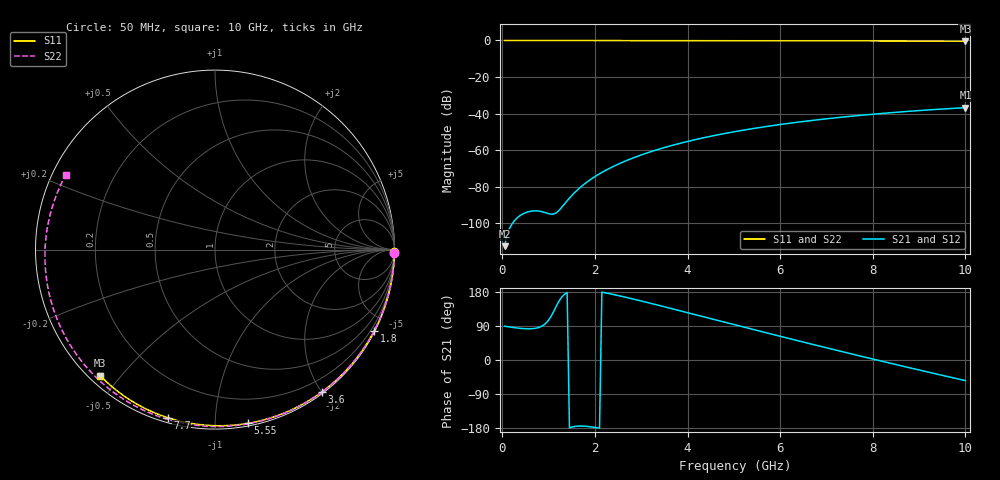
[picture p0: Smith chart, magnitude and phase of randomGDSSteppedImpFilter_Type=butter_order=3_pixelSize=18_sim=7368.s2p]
! freq	dB(S11)	phase(S11)	dB(S12)	phase(S12)
!  dB(S21)	phase(S21)	dB(S22)	phase(S22)
!S-par simulation data
#  GHz  S  DB  R 50
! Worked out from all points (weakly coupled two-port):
!   200 points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, 50 MHz to 10 GHz, reference 50 ohm
!   highest |S21| = -36.77 dB at 10 GHz (marker M1); lowest = -112.5 dB at 50 MHz (marker M2)
!   lowest |S11| = -0.4 dB at 10 GHz (marker M3), VSWR 38.79, Z = 1.54 - j22.1 ohm
!   |S11| at or under -10 dB: nowhere
!   |S22| runs from -0.6 to 0.0 dB; largest |S21 - S12| = 0
!   S11 on the Smith chart (normalised r, x): 50 MHz: open; 1.8 GHz: 0.04, -4.15; 3.6 GHz: 0.02, -2.00; 5.55 GHz: 0.02, -1.21; 7.7 GHz: 0.02, -0.76; 10 GHz: 0.03, -0.44
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0.05  -0.00 -0.8  -112.53 89.1  -112.53 89.1  -0.00 -1.2
0.45  -0.01 -6.9  -94.80 82.8  -94.80 82.8  -0.01 -10.4
0.85  -0.02 -12.9  -93.63 89.1  -93.63 89.1  -0.02 -19.6
1.25  -0.02 -18.9  -92.25 160.3  -92.25 160.3  -0.04 -28.8
1.7  -0.03 -25.6  -80.02 -174.4  -80.02 -174.4  -0.05 -38.9
1.75  -0.03 -26.4  -78.98 -174.5  -78.98 -174.5  -0.05 -40.0
1.8  -0.03 -27.1  -77.99 -174.9  -77.99 -174.9  -0.05 -41.1
2.1  -0.04 -31.5  -72.92 -179.9  -72.92 -179.9  -0.06 -47.7
2.5  -0.05 -37.4  -67.69 170.1  -67.69 170.1  -0.07 -56.4
2.9  -0.06 -43.1  -63.53 158.7  -63.53 158.7  -0.08 -65.0
3.4  -0.07 -50.2  -59.32 143.5  -59.32 143.5  -0.10 -75.5
3.6  -0.07 -53.0  -57.86 137.3  -57.86 137.3  -0.11 -79.6
4.3  -0.09 -62.7  -53.48 115.5  -53.48 115.5  -0.13 -93.7
5.05  -0.11 -72.7  -49.74 92.0  -49.74 92.0  -0.17 -108.4
5.55  -0.13 -79.2  -47.65 76.4  -47.65 76.4  -0.19 -118.0
6.1  -0.15 -86.2  -45.63 59.5  -45.63 59.5  -0.23 -128.4
6.7  -0.18 -93.7  -43.71 41.2  -43.71 41.2  -0.27 -139.8
7.2  -0.21 -99.8  -42.30 26.2  -42.30 26.2  -0.31 -149.2
7.7  -0.24 -105.7  -41.04 11.3  -41.04 11.3  -0.36 -158.8
8.35  -0.29 -113.4  -39.60 -7.7  -39.60 -7.7  -0.43 -171.6
9.2  -0.36 -123.2  -38.00 -32.1  -38.00 -32.1  -0.53 171.0
10  -0.45 -132.4  -36.77 -54.4  -36.77 -54.4  -0.64 153.3
